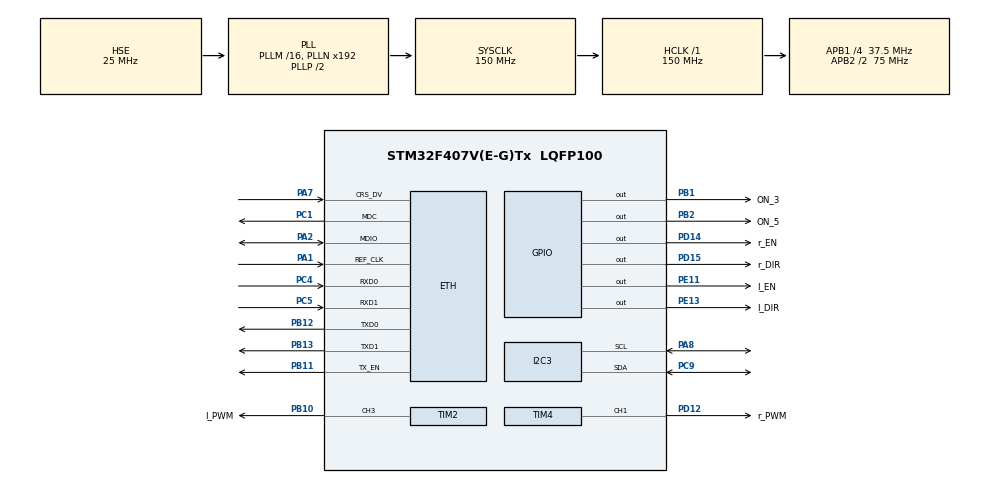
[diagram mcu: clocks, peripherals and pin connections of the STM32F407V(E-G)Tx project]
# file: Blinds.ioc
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ETH.AutoNegotiation=ETH_AUTONEGOTIATION_DISABLE
ETH.MediaInterface=ETH_MEDIA_INTERFACE_RMII
ETH.PHY_Name_RMII=LAN8742A_PHY_ADDRESS
ETH.RxMode=ETH_RXPOLLING_MODE
ETH.Speed=ETH_SPEED_10M
LWIP.IP_ADDRESS=192.168.099.250
LWIP.LWIP_DHCP=0
LWIP.LWIP_TCP=0
LWIP.MEMP_NUM_TCP_PCB=0
LWIP.MEMP_NUM_TCP_PCB_LISTEN=0
LWIP.MEMP_NUM_TCP_SEG=0
LWIP.MEMP_NUM_UDP_PCB=3
LWIP.MEM_SIZE=0x4000
LWIP.NETMASK_ADDRESS=255.255.255.000
LWIP.PBUF_POOL_BUFSIZE=1024
LWIP.PBUF_POOL_SIZE=16
LWIP.Version=v2.1.2_Cube
Mcu.Family=STM32F4
Mcu.Name=STM32F407V(E-G)Tx
Mcu.Package=LQFP100
NVIC.FLASH_IRQn=true\:0\:0\:false\:true\:true\:1\:true\:true
NVIC.I2C3_ER_IRQn=true\:0\:0\:false\:false\:true\:true\:true
NVIC.I2C3_EV_IRQn=true\:0\:0\:false\:false\:true\:true\:true
NVIC.PriorityGroup=NVIC_PRIORITYGROUP_4
NVIC.RCC_IRQn=true\:0\:0\:false\:false\:true\:true\:false
NVIC.TIM2_IRQn=true\:0\:0\:false\:true\:true\:2\:true\:true
NVIC.TIM4_IRQn=true\:0\:0\:false\:true\:true\:3\:true\:true
PA1.Mode=RMII
PA1.Signal=ETH_REF_CLK
PA13.Mode=Trace_Asynchronous_SW
PA13.Signal=SYS_JTMS-SWDIO
PA14.Mode=Trace_Asynchronous_SW
PA14.Signal=SYS_JTCK-SWCLK
PA2.Mode=RMII
PA2.Signal=ETH_MDIO
PA7.Mode=RMII
PA7.Signal=ETH_CRS_DV
PA8.Mode=I2C
PA8.Signal=I2C3_SCL
PB1.GPIO_Label=ON_3
PB1.Signal=GPIO_Output
PB10.GPIO_Label=l_PWM
PB10.Signal=S_TIM2_CH3
PB11.Mode=RMII
PB11.Signal=ETH_TX_EN
PB12.Mode=RMII
PB12.Signal=ETH_TXD0
PB13.Mode=RMII
PB13.Signal=ETH_TXD1
PB2.GPIO_Label=ON_5
PB2.PinState=GPIO_PIN_RESET
PB2.Signal=GPIO_Output
PB3.Mode=Trace_Asynchronous_SW
PB3.Signal=SYS_JTDO-SWO
PC1.Mode=RMII
PC1.Signal=ETH_MDC
PC4.Mode=RMII
PC4.Signal=ETH_RXD0
PC5.Mode=RMII
PC5.Signal=ETH_RXD1
PC9.Mode=I2C
PC9.Signal=I2C3_SDA
PD12.GPIO_Label=r_PWM
PD12.Signal=S_TIM4_CH1
PD14.GPIO_Label=r_EN
PD14.Signal=GPIO_Output
PD15.GPIO_Label=r_DIR
PD15.Signal=GPIO_Output
PE11.GPIO_Label=l_EN
PE11.Signal=GPIO_Output
PE13.GPIO_Label=l_DIR
PE13.Signal=GPIO_Output
PH0-OSC_IN.Mode=HSE-External-Clock-Source
PH0-OSC_IN.Signal=RCC_OSC_IN
PH1-OSC_OUT.Mode=HSE-External-Clock-Source
PH1-OSC_OUT.Signal=RCC_OSC_OUT
ProjectManager.HeapSize=0x4000
ProjectManager.StackSize=0x6000
ProjectManager.TargetToolchain=STM32CubeIDE
RCC.48MHZClocksFreq_Value=75000000
RCC.AHBFreq_Value=150000000
RCC.APB1CLKDivider=RCC_HCLK_DIV4
RCC.APB1Freq_Value=37500000
RCC.APB1TimFreq_Value=75000000
RCC.APB2CLKDivider=RCC_HCLK_DIV2
RCC.APB2Freq_Value=75000000
RCC.APB2TimFreq_Value=150000000
RCC.CortexFreq_Value=150000000
RCC.HCLKFreq_Value=150000000
RCC.HSE_VALUE=25000000
RCC.HSI_VALUE=16000000
RCC.LSE_VALUE=32768
RCC.PLLSourceVirtual=RCC_PLLSOURCE_HSE
RCC.SYSCLKFreq_VALUE=150000000
RCC.SYSCLKSource=RCC_SYSCLKSOURCE_PLLCLK
RCC.VCOOutputFreq_Value=300000000
SH.S_TIM2_CH3.0=TIM2_CH3,PWM Generation3 CH3
SH.S_TIM4_CH1.0=TIM4_CH1,PWM Generation1 CH1
TIM2.AutoReloadPreload=TIM_AUTORELOAD_PRELOAD_ENABLE
TIM2.Channel-PWM\ Generation3\ CH3=TIM_CHANNEL_3
TIM2.Period=1000
TIM2.Prescaler=750
TIM2.Pulse-PWM\ Generation3\ CH3=100
TIM4.AutoReloadPreload=TIM_AUTORELOAD_PRELOAD_ENABLE
TIM4.Channel-PWM\ Generation1\ CH1=TIM_CHANNEL_1
TIM4.Period=100
TIM4.Prescaler=750
TIM4.Pulse-PWM\ Generation1\ CH1=100
VP_LWIP_VS_Enabled.Mode=Enabled
VP_TIM2_VS_ClockSourceINT.Mode=Internal
VP_TIM4_VS_ClockSourceINT.Mode=Internal
board=custom

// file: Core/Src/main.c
/* USER CODE BEGIN Header */
/**
  ******************************************************************************
  * @file           : main.c
  * @brief          : Main program body
  ******************************************************************************
  * @attention
  *
  * Copyright (c) 2023 STMicroelectronics.
  * All rights reserved.
  *
  * This software is licensed under terms that can be found in the LICENSE file
  * in the root directory of this software component.
  * If no LICENSE file comes with this software, it is provided AS-IS.
  *
  ******************************************************************************
  */
/* USER CODE END Header */
#include "main.h"
#include "lwip.h"

/* USER CODE BEGIN Includes */
#include "usr_main.h"
/* USER CODE END Includes */

I2C_HandleTypeDef hi2c3;

TIM_HandleTypeDef htim2;
TIM_HandleTypeDef htim4;

void SystemClock_Config(void);
static void MX_GPIO_Init(void);
static void MX_I2C3_Init(void);
static void MX_TIM2_Init(void);
static void MX_TIM4_Init(void);
static void MX_NVIC_Init(void);

int main(void)
{

  /* MCU Configuration--------------------------------------------------------*/

  /* Reset of all peripherals, Initializes the Flash interface and the Systick. */
  HAL_Init();

  /* Configure the system clock */
  SystemClock_Config();

  /* Initialize all configured peripherals */
  MX_GPIO_Init();
  MX_LWIP_Init();
  MX_I2C3_Init();
  MX_TIM2_Init();
  MX_TIM4_Init();

  /* Initialize interrupts */
  MX_NVIC_Init();

  /* Infinite loop */
  /* USER CODE BEGIN WHILE */
//  HAL_TIM_PWM_Start_IT(&htim3, TIM_CHANNEL_1);

  usr_main();
//  usr_main();
  while (1)
  {
    /* USER CODE END WHILE */

  }
}

void SystemClock_Config(void)
{
  RCC_OscInitTypeDef RCC_OscInitStruct = {0};
  RCC_ClkInitTypeDef RCC_ClkInitStruct = {0};

  /** Configure the main internal regulator output voltage
  */
  __HAL_RCC_PWR_CLK_ENABLE();
  __HAL_PWR_VOLTAGESCALING_CONFIG(PWR_REGULATOR_VOLTAGE_SCALE1);
  /** Initializes the RCC Oscillators according to the specified parameters
  * in the RCC_OscInitTypeDef structure.
  */
  RCC_OscInitStruct.OscillatorType = RCC_OSCILLATORTYPE_HSE;
  RCC_OscInitStruct.HSEState = RCC_HSE_BYPASS;
  RCC_OscInitStruct.PLL.PLLState = RCC_PLL_ON;
  RCC_OscInitStruct.PLL.PLLSource = RCC_PLLSOURCE_HSE;
  RCC_OscInitStruct.PLL.PLLM = 16;
  RCC_OscInitStruct.PLL.PLLN = 192;
  RCC_OscInitStruct.PLL.PLLP = RCC_PLLP_DIV2;
  RCC_OscInitStruct.PLL.PLLQ = 4;
  if (HAL_RCC_OscConfig(&RCC_OscInitStruct) != HAL_OK)
  {
    Error_Handler();
  }
  /** Initializes the CPU, AHB and APB buses clocks
  */
  RCC_ClkInitStruct.ClockType = RCC_CLOCKTYPE_HCLK|RCC_CLOCKTYPE_SYSCLK
                              |RCC_CLOCKTYPE_PCLK1|RCC_CLOCKTYPE_PCLK2;
  RCC_ClkInitStruct.SYSCLKSource = RCC_SYSCLKSOURCE_PLLCLK;
  RCC_ClkInitStruct.AHBCLKDivider = RCC_SYSCLK_DIV1;
  RCC_ClkInitStruct.APB1CLKDivider = RCC_HCLK_DIV4;
  RCC_ClkInitStruct.APB2CLKDivider = RCC_HCLK_DIV2;

  if (HAL_RCC_ClockConfig(&RCC_ClkInitStruct, FLASH_LATENCY_4) != HAL_OK)
  {
    Error_Handler();
  }
}

/**
  * @brief NVIC Configuration.
  * @retval None
  */
static void MX_NVIC_Init(void)
{
  /* FLASH_IRQn interrupt configuration */
  HAL_NVIC_SetPriority(FLASH_IRQn, 0, 0);
  HAL_NVIC_EnableIRQ(FLASH_IRQn);
  /* TIM2_IRQn interrupt configuration */
  HAL_NVIC_SetPriority(TIM2_IRQn, 0, 0);
  HAL_NVIC_EnableIRQ(TIM2_IRQn);
  /* TIM4_IRQn interrupt configuration */
  HAL_NVIC_SetPriority(TIM4_IRQn, 0, 0);
  HAL_NVIC_EnableIRQ(TIM4_IRQn);
}

static void MX_I2C3_Init(void)
{

  hi2c3.Instance = I2C3;
  hi2c3.Init.ClockSpeed = 100000;
  hi2c3.Init.DutyCycle = I2C_DUTYCYCLE_2;
  hi2c3.Init.OwnAddress1 = 0;
  hi2c3.Init.AddressingMode = I2C_ADDRESSINGMODE_7BIT;
  hi2c3.Init.DualAddressMode = I2C_DUALADDRESS_DISABLE;
  hi2c3.Init.OwnAddress2 = 0;
  hi2c3.Init.GeneralCallMode = I2C_GENERALCALL_DISABLE;
  hi2c3.Init.NoStretchMode = I2C_NOSTRETCH_DISABLE;
  if (HAL_I2C_Init(&hi2c3) != HAL_OK)
  {
    Error_Handler();
  }

}

static void MX_TIM2_Init(void)
{

  TIM_ClockConfigTypeDef sClockSourceConfig = {0};
  TIM_MasterConfigTypeDef sMasterConfig = {0};
  TIM_OC_InitTypeDef sConfigOC = {0};

  htim2.Instance = TIM2;
  htim2.Init.Prescaler = 750;
  htim2.Init.CounterMode = TIM_COUNTERMODE_UP;
  htim2.Init.Period = 1000;
  htim2.Init.ClockDivision = TIM_CLOCKDIVISION_DIV1;
  htim2.Init.AutoReloadPreload = TIM_AUTORELOAD_PRELOAD_ENABLE;
  if (HAL_TIM_Base_Init(&htim2) != HAL_OK)
  {
    Error_Handler();
  }
  sClockSourceConfig.ClockSource = TIM_CLOCKSOURCE_INTERNAL;
  if (HAL_TIM_ConfigClockSource(&htim2, &sClockSourceConfig) != HAL_OK)
  {
    Error_Handler();
  }
  if (HAL_TIM_PWM_Init(&htim2) != HAL_OK)
  {
    Error_Handler();
  }
  sMasterConfig.MasterOutputTrigger = TIM_TRGO_RESET;
  sMasterConfig.MasterSlaveMode = TIM_MASTERSLAVEMODE_DISABLE;
  if (HAL_TIMEx_MasterConfigSynchronization(&htim2, &sMasterConfig) != HAL_OK)
  {
    Error_Handler();
  }
  sConfigOC.OCMode = TIM_OCMODE_PWM1;
  sConfigOC.Pulse = 100;
  sConfigOC.OCPolarity = TIM_OCPOLARITY_HIGH;
  sConfigOC.OCFastMode = TIM_OCFAST_DISABLE;
  if (HAL_TIM_PWM_ConfigChannel(&htim2, &sConfigOC, TIM_CHANNEL_3) != HAL_OK)
  {
    Error_Handler();
  }
  HAL_TIM_MspPostInit(&htim2);

}

static void MX_TIM4_Init(void)
{

  TIM_ClockConfigTypeDef sClockSourceConfig = {0};
  TIM_MasterConfigTypeDef sMasterConfig = {0};
  TIM_OC_InitTypeDef sConfigOC = {0};

  htim4.Instance = TIM4;
  htim4.Init.Prescaler = 750;
  htim4.Init.CounterMode = TIM_COUNTERMODE_UP;
  htim4.Init.Period = 100;
  htim4.Init.ClockDivision = TIM_CLOCKDIVISION_DIV1;
  htim4.Init.AutoReloadPreload = TIM_AUTORELOAD_PRELOAD_ENABLE;
  if (HAL_TIM_Base_Init(&htim4) != HAL_OK)
  {
    Error_Handler();
  }
  sClockSourceConfig.ClockSource = TIM_CLOCKSOURCE_INTERNAL;
  if (HAL_TIM_ConfigClockSource(&htim4, &sClockSourceConfig) != HAL_OK)
  {
    Error_Handler();
  }
  if (HAL_TIM_PWM_Init(&htim4) != HAL_OK)
  {
    Error_Handler();
  }
  sMasterConfig.MasterOutputTrigger = TIM_TRGO_RESET;
  sMasterConfig.MasterSlaveMode = TIM_MASTERSLAVEMODE_DISABLE;
  if (HAL_TIMEx_MasterConfigSynchronization(&htim4, &sMasterConfig) != HAL_OK)
  {
    Error_Handler();
  }
  sConfigOC.OCMode = TIM_OCMODE_PWM1;
  sConfigOC.Pulse = 100;
  sConfigOC.OCPolarity = TIM_OCPOLARITY_HIGH;
  sConfigOC.OCFastMode = TIM_OCFAST_DISABLE;
  if (HAL_TIM_PWM_ConfigChannel(&htim4, &sConfigOC, TIM_CHANNEL_1) != HAL_OK)
  {
    Error_Handler();
  }
  HAL_TIM_MspPostInit(&htim4);

}

static void MX_GPIO_Init(void)
{
  GPIO_InitTypeDef GPIO_InitStruct = {0};

  /* GPIO Ports Clock Enable */
  __HAL_RCC_GPIOH_CLK_ENABLE();
  __HAL_RCC_GPIOC_CLK_ENABLE();
  __HAL_RCC_GPIOA_CLK_ENABLE();
  __HAL_RCC_GPIOB_CLK_ENABLE();
  __HAL_RCC_GPIOE_CLK_ENABLE();
  __HAL_RCC_GPIOD_CLK_ENABLE();

  /*Configure GPIO pin Output Level */
  HAL_GPIO_WritePin(GPIOB, ON_3_Pin|ON_5_Pin, GPIO_PIN_RESET);

  /*Configure GPIO pin Output Level */
  HAL_GPIO_WritePin(GPIOE, l_EN_Pin|l_DIR_Pin, GPIO_PIN_RESET);

  /*Configure GPIO pin Output Level */
  HAL_GPIO_WritePin(GPIOD, r_EN_Pin|r_DIR_Pin, GPIO_PIN_RESET);

  /*Configure GPIO pins : ON_3_Pin ON_5_Pin */
  GPIO_InitStruct.Pin = ON_3_Pin|ON_5_Pin;
  GPIO_InitStruct.Mode = GPIO_MODE_OUTPUT_PP;
  GPIO_InitStruct.Pull = GPIO_NOPULL;
  GPIO_InitStruct.Speed = GPIO_SPEED_FREQ_LOW;
  HAL_GPIO_Init(GPIOB, &GPIO_InitStruct);

  /*Configure GPIO pins : l_EN_Pin l_DIR_Pin */
  GPIO_InitStruct.Pin = l_EN_Pin|l_DIR_Pin;
  GPIO_InitStruct.Mode = GPIO_MODE_OUTPUT_PP;
  GPIO_InitStruct.Pull = GPIO_NOPULL;
  GPIO_InitStruct.Speed = GPIO_SPEED_FREQ_LOW;
  HAL_GPIO_Init(GPIOE, &GPIO_InitStruct);

  /*Configure GPIO pins : r_EN_Pin r_DIR_Pin */
  GPIO_InitStruct.Pin = r_EN_Pin|r_DIR_Pin;
  GPIO_InitStruct.Mode = GPIO_MODE_OUTPUT_PP;
  GPIO_InitStruct.Pull = GPIO_NOPULL;
  GPIO_InitStruct.Speed = GPIO_SPEED_FREQ_LOW;
  HAL_GPIO_Init(GPIOD, &GPIO_InitStruct);

}

/* USER CODE BEGIN 4 */

void ETH_Handler(ETH_HandleTypeDef *heth)
{
  /* Frame received */
  if (__HAL_ETH_DMA_GET_FLAG(heth, ETH_DMA_FLAG_R))
  {
#if (USE_HAL_ETH_REGISTER_CALLBACKS == 1)
    /*Call registered Receive complete callback*/
    heth->RxCpltCallback(heth);
#else
    /* Receive complete callback */
    HAL_ETH_RxCpltCallback(heth);
#endif /* USE_HAL_ETH_REGISTER_CALLBACKS */

     /* Clear the Eth DMA Rx IT pending bits */
    __HAL_ETH_DMA_CLEAR_IT(heth, ETH_DMA_IT_R);

    /* Set HAL State to Ready */
    heth->State = HAL_ETH_STATE_READY;

    /* Process Unlocked */
    __HAL_UNLOCK(heth);

  }
  /* Frame transmitted */
  else if (__HAL_ETH_DMA_GET_FLAG(heth, ETH_DMA_FLAG_T))
  {
#if (USE_HAL_ETH_REGISTER_CALLBACKS == 1)
    /*  Call resgistered Transfer complete callback*/
    heth->TxCpltCallback(heth);
#else
    /* Transfer complete callback */
    HAL_ETH_TxCpltCallback(heth);
#endif /* USE_HAL_ETH_REGISTER_CALLBACKS */

    /* Clear the Eth DMA Tx IT pending bits */
    __HAL_ETH_DMA_CLEAR_IT(heth, ETH_DMA_IT_T);

    /* Set HAL State to Ready */
    heth->State = HAL_ETH_STATE_READY;

    /* Process Unlocked */
    __HAL_UNLOCK(heth);
  }

  /* Clear the interrupt flags */
  __HAL_ETH_DMA_CLEAR_IT(heth, ETH_DMA_IT_NIS);

  /* ETH DMA Error */
  if(__HAL_ETH_DMA_GET_FLAG(heth, ETH_DMA_FLAG_AIS))
  {
#if (USE_HAL_ETH_REGISTER_CALLBACKS == 1)
    heth->DMAErrorCallback(heth);
#else
    /* Ethernet Error callback */
    HAL_ETH_ErrorCallback(heth);
#endif /* USE_HAL_ETH_REGISTER_CALLBACKS */

    /* Clear the interrupt flags */
    __HAL_ETH_DMA_CLEAR_IT(heth, ETH_DMA_FLAG_AIS);

    /* Set HAL State to Ready */
    heth->State = HAL_ETH_STATE_READY;

    /* Process Unlocked */
    __HAL_UNLOCK(heth);
  }
}

/* USER CODE END 4 */

void Error_Handler(void)
{
  __disable_irq();
  while (1)
  {
  }
}
